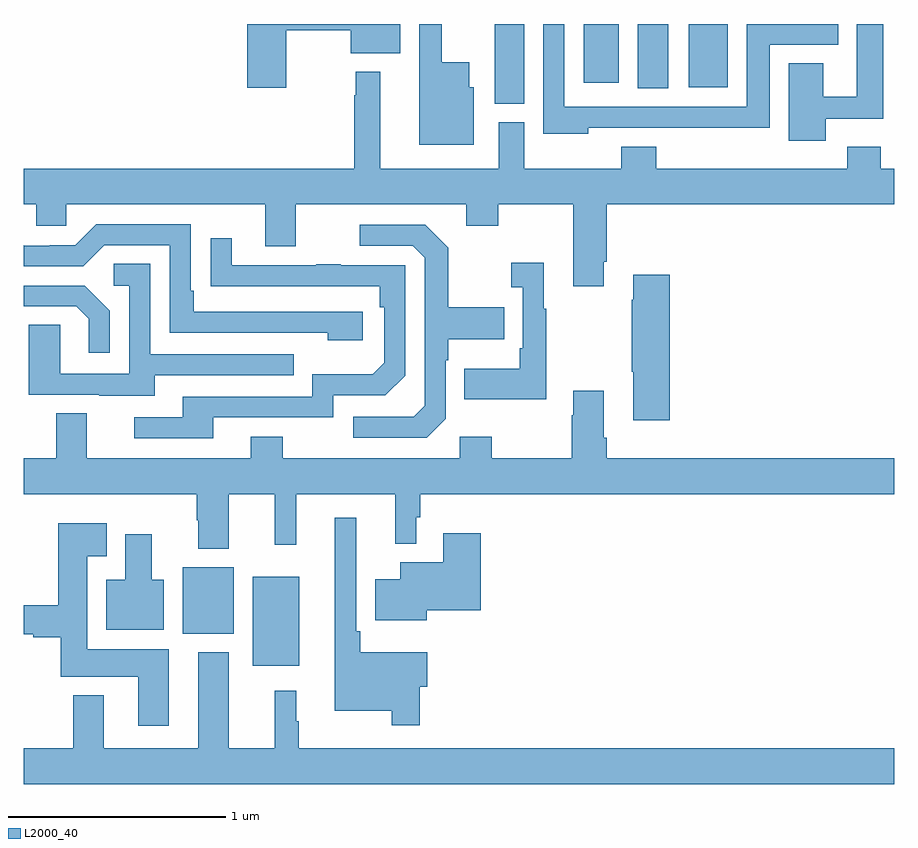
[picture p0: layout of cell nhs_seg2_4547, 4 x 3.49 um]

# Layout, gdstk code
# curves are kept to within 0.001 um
import gdstk
lib = gdstk.Library(unit=1e-6, precision=1e-09)
def R(c, l, rs):  # rectangles x0, y0, x1, y1
    for r in rs: c.add(gdstk.rectangle(r[:2], r[2:], *l))
def P(c, l, *ps):  # polygons
    for p in ps: c.add(gdstk.Polygon(p, *l))
L2000_40 = (2000, 40)

nhs_seg2_4547 = lib.new_cell('nhs_seg2_4547')
R(nhs_seg2_4547, L2000_40, [(358.052,642.851,358.267,643.261), (357.731,642.998,357.964,643.303), (359.165,645.433,359.299,645.8), (359.822,645.505,359.962,645.8), (360.056,645.509,360.235,645.8), (359.573,645.531,359.734,645.8)])
P(nhs_seg2_4547, L2000_40, [(358.206,645.772),(358.502,645.772),(358.502,645.665),(358.729,645.665),(358.729,645.8),(358.028,645.8),(358.028,645.507),(358.206,645.507)],
  [(359.068,645.51),(359.047,645.51),(359.047,645.625),(358.921,645.625),(358.921,645.8),(358.817,645.8),(358.817,645.245),(359.068,645.245)],
  [(359.595,645.324),(359.989,645.324),(359.989,645.323),(360.427,645.323),(360.427,645.705),(360.742,645.705),(360.742,645.8),(360.323,645.8),(360.323,645.42),(359.484,645.42),(359.484,645.8),(359.388,645.8),(359.388,645.296),(359.595,645.296)],
  [(360.686,645.365),(360.949,645.365),(360.949,645.8),(360.827,645.8),(360.827,645.465),(360.673,645.465),(360.673,645.62),(360.515,645.62),(360.515,645.264),(360.686,645.264)],
  [(359.665,644.707),(359.678,644.707),(359.678,644.972),(361,644.972),(361,645.136),(360.937,645.136),(360.937,645.235),(360.785,645.235),(360.785,645.136),(359.906,645.136),(359.906,645.235),(359.746,645.235),(359.746,645.136),(359.299,645.136),(359.299,645.348),(359.183,645.348),(359.183,645.136),(358.639,645.136),(358.639,645.58),(358.525,645.58),(358.525,645.473),(358.518,645.473),(358.518,645.136),(357,645.136),(357,644.972),(357.057,644.972),(357.057,644.874),(357.195,644.874),(357.195,644.972),(358.109,644.972),(358.109,644.778),(358.249,644.778),(358.249,644.972),(359.033,644.972),(359.033,644.873),(359.181,644.873),(359.181,644.972),(359.525,644.972),(359.525,644.595),(359.665,644.595)],
  [(358.558,644.478),(357.781,644.478),(357.781,644.575),(357.768,644.575),(357.768,644.88),(357.333,644.88),(357.237,644.784),(357.119,644.784),(357.119,644.781),(357.003,644.781),(357,644.784),(357,644.688),(357.273,644.688),(357.369,644.784),(357.672,644.784),(357.672,644.382),(358.397,644.382),(358.397,644.348),(358.558,644.348)],
  [(358.938,643.986),(358.938,644.255),(358.951,644.255),(358.951,644.351),(359.207,644.351),(359.207,644.499),(358.951,644.499),(358.951,644.771),(358.845,644.877),(358.545,644.877),(358.545,644.781),(358.788,644.781),(358.842,644.727),(358.842,644.046),(358.791,643.995),(358.515,643.995),(358.515,643.899),(358.851,643.899)],
  [(357.871,643.992),(358.422,643.992),(358.422,644.094),(358.662,644.094),(358.752,644.184),(358.752,644.691),(358.457,644.691),(358.457,644.696),(358.345,644.696),(358.345,644.691),(357.955,644.691),(357.955,644.815),(357.859,644.815),(357.859,644.596),(358.636,644.595),(358.636,644.498),(358.656,644.498),(358.656,644.244),(358.603,644.191),(358.326,644.191),(358.326,644.088),(357.731,644.088),(357.731,643.992),(357.507,643.992),(357.507,643.896),(357.871,643.896)],
  [(359.401,644.491),(359.389,644.491),(359.389,644.704),(359.241,644.704),(359.241,644.591),(359.292,644.591),(359.292,644.311),(359.28,644.311),(359.28,644.215),(359.023,644.215),(359.023,644.075),(359.401,644.075)],
  [(357.601,644.187),(358.241,644.187),(358.241,644.283),(357.582,644.283),(357.582,644.699),(357.414,644.699),(357.414,644.598),(357.486,644.598),(357.486,644.193),(357.168,644.193),(357.168,644.417),(357.023,644.417),(357.023,644.097),(357.347,644.097),(357.347,644.093),(357.601,644.093)],
  [(359.969,644.647),(359.801,644.647),(359.801,644.534),(359.794,644.534),(359.794,644.203),(359.801,644.203),(359.801,643.98),(359.969,643.98)],
  [(357.396,644.482),(357.28,644.598),(357,644.598),(357,644.502),(357.242,644.502),(357.299,644.445),(357.299,644.289),(357.396,644.289)],
  [(357.943,643.64),(358.154,643.64),(358.154,643.407),(358.253,643.407),(358.253,643.64),(358.706,643.64),(358.706,643.412),(358.803,643.412),(358.803,643.533),(358.823,643.533),(358.823,643.64),(361,643.64),(361,643.804),(359.678,643.804),(359.678,643.9),(359.665,643.9),(359.665,644.116),(359.525,644.116),(359.525,644.003),(359.518,644.003),(359.518,643.804),(359.151,643.804),(359.151,643.903),(359.004,643.903),(359.004,643.804),(358.191,643.804),(358.191,643.903),(358.043,643.903),(358.043,643.804),(357.289,643.804),(357.289,644.012),(357.149,644.012),(357.149,643.804),(357,643.804),(357,643.64),(357.796,643.64),(357.796,643.52),(357.803,643.52),(357.803,643.388),(357.943,643.388)],
  [(358.82,642.755),(358.855,642.755),(358.855,642.913),(358.547,642.913),(358.547,643.009),(358.527,643.009),(358.527,643.531),(358.43,643.531),(358.43,642.644),(358.692,642.644),(358.692,642.579),(358.82,642.579)],
  [(357.667,642.928),(357.292,642.928),(357.292,643.355),(357.382,643.355),(357.382,643.507),(357.158,643.507),(357.158,643.13),(357,643.13),(357,642.995),(357.044,642.995),(357.044,642.983),(357.17,642.983),(357.17,642.8),(357.527,642.8),(357.527,642.576),(357.667,642.576)],
  [(358.852,643.106),(359.099,643.106),(359.099,643.459),(358.928,643.459),(358.928,643.327),(358.73,643.327),(358.73,643.249),(358.616,643.249),(358.616,643.061),(358.852,643.061)],
  [(357.643,643.246),(357.589,643.246),(357.589,643.456),(357.467,643.456),(357.467,643.246),(357.38,643.246),(357.38,643.016),(357.643,643.016)],
  [(361,642.472),(358.264,642.472),(358.264,642.596),(358.252,642.596),(358.252,642.736),(358.154,642.736),(358.154,642.472),(357.943,642.472),(357.943,642.913),(357.803,642.913),(357.803,642.472),(357.367,642.472),(357.367,642.715),(357.227,642.715),(357.227,642.472),(357,642.472),(357,642.308),(361,642.308)])

lib.write_gds('nhs_seg2_4547.gds')
